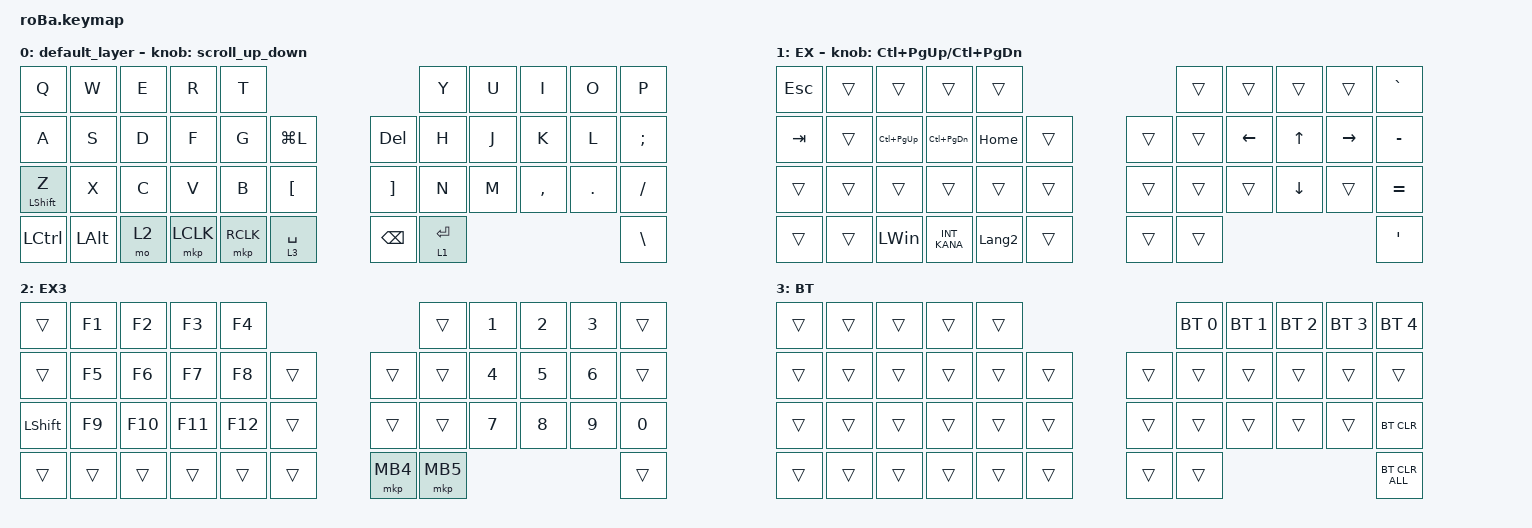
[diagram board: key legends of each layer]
#define ZMK_POINTING_DEFAULT_SCRL_VAL 100

#include <behaviors.dtsi>
#include <dt-bindings/zmk/bt.h>
#include <dt-bindings/zmk/keys.h>
#include <dt-bindings/zmk/pointing.h>

&mt {
    flavor = "balanced";
    quick-tap-ms = <0>;
};

&trackball {
    // automouse-layer = <4>;

    scroll-layers = <2>;

    // arrows {
    //     layers = <3>;
    //     bindings =
    //         <&kp RIGHT_ARROW>,
    //         <&kp LEFT_ARROW>,
    //         <&kp UP_ARROW>,
    //         <&kp DOWN_ARROW>;
    //     tick = <10>;
    //     wait-ms = <5>;
    //     tap-ms = <5>;
    // };
};

/ {
    combos {
        compatible = "zmk,combos";

        double_quotation {
            bindings = <&kp MINUS>;
            key-positions = <20 21>;
        };

        tab {
            bindings = <&kp TAB>;
            key-positions = <10 11>;
        };

        shift_tab {
            bindings = <&kp LS(TAB)>;
            key-positions = <11 12>;
        };
    };

    behaviors {
        scroll_up_down: behavior_sensor_rotate_mouse_wheel_up_down {
            compatible = "zmk,behavior-sensor-rotate";
            #sensor-binding-cells = <0>;
            bindings = <&msc SCRL_DOWN>, <&msc SCRL_UP>;

            tap-ms = <20>;
        };
    };

    keymap {
        compatible = "zmk,keymap";

        default_layer {
            bindings = <
&kp Q             &kp W         &kp E  &kp R      &kp T                                               &kp Y        &kp U  &kp I      &kp O    &kp P
&kp A             &kp S         &kp D  &kp F      &kp G      &kp LG(L)             &kp DELETE         &kp H        &kp J  &kp K      &kp L    &kp SEMICOLON
&mt LEFT_SHIFT Z  &kp X         &kp C  &kp V      &kp B      &kp LEFT_BRACKET      &kp RIGHT_BRACKET  &kp N        &kp M  &kp COMMA  &kp DOT  &kp SLASH
&kp LCTRL         &kp LEFT_ALT  &mo 2  &mkp LCLK  &mkp RCLK  &lt 3 SPACE           &kp BACKSPACE      &lt 1 ENTER                             &kp BACKSLASH
            >;

            sensor-bindings = <&scroll_up_down>;
        };

        EX {
            bindings = <
&kp ESCAPE  &trans  &trans         &trans             &trans                              &trans  &trans          &trans          &trans           &kp GRAVE
&kp TAB     &trans  &kp LC(PG_UP)  &kp LC(PAGE_DOWN)  &kp HOME        &trans      &trans  &trans  &kp LEFT_ARROW  &kp UP_ARROW    &kp RIGHT_ARROW  &kp MINUS
&trans      &trans  &trans         &trans             &trans          &trans      &trans  &trans  &trans          &kp DOWN_ARROW  &trans           &kp EQUAL
&trans      &trans  &kp LEFT_WIN   &kp INT_KANA       &kp LANGUAGE_2  &trans      &trans  &trans                                                   &kp SINGLE_QUOTE
            >;

            sensor-bindings = <&inc_dec_kp LC(PAGE_UP) LC(PAGE_DOWN)>;
        };

        EX3 {
            bindings = <
&trans          &kp F1  &kp F2   &kp F3   &kp F4                         &trans    &kp NUMBER_1  &kp NUMBER_2  &kp NUMBER_3  &trans
&trans          &kp F5  &kp F6   &kp F7   &kp F8   &trans      &trans    &trans    &kp NUMBER_4  &kp NUMBER_5  &kp NUMBER_6  &trans
&kp LEFT_SHIFT  &kp F9  &kp F10  &kp F11  &kp F12  &trans      &trans    &trans    &kp NUMBER_7  &kp NUMBER_8  &kp NUMBER_9  &kp NUMBER_0
&trans          &trans  &trans   &trans   &trans   &trans      &mkp MB4  &mkp MB5                                            &trans
            >;
        };

        BT {
            bindings = <
&trans  &trans  &trans  &trans  &trans                      &bt BT_SEL 0  &bt BT_SEL 1  &bt BT_SEL 2  &bt BT_SEL 3  &bt BT_SEL 4
&trans  &trans  &trans  &trans  &trans  &trans      &trans  &trans        &trans        &trans        &trans        &trans
&trans  &trans  &trans  &trans  &trans  &trans      &trans  &trans        &trans        &trans        &trans        &bt BT_CLR
&trans  &trans  &trans  &trans  &trans  &trans      &trans  &trans                                                  &bt BT_CLR_ALL
            >;
        };
    };
};
